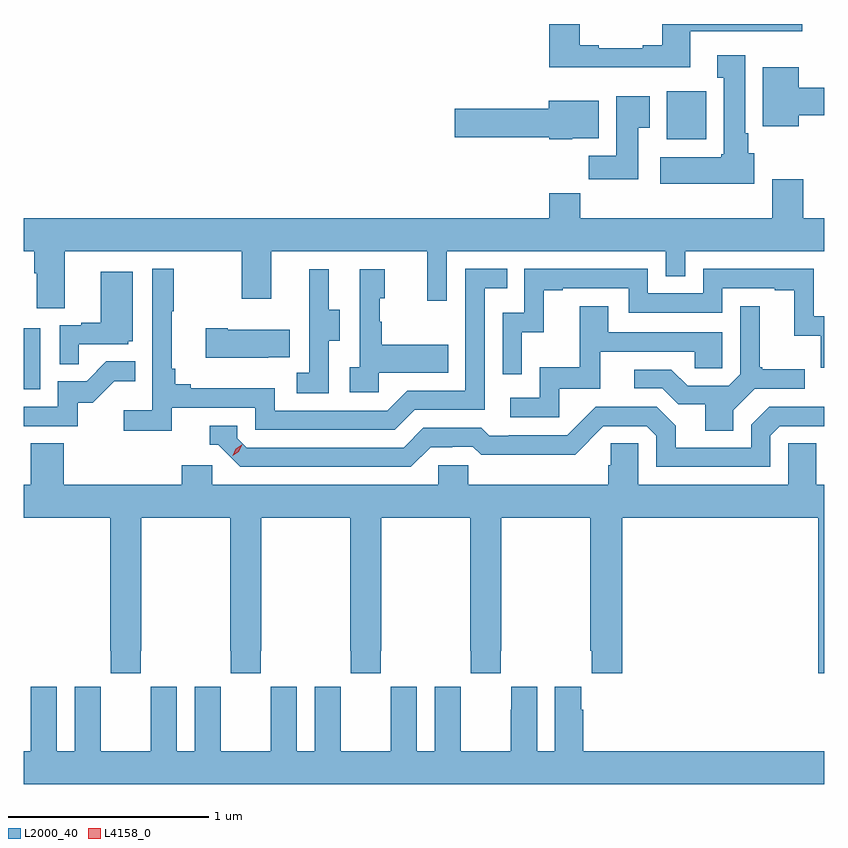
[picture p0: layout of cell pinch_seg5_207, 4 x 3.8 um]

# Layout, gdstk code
import gdstk
lib = gdstk.Library(unit=1e-6, precision=1e-09)
def R(c, l, rs):  # rectangles x0, y0, x1, y1
    for r in rs: c.add(gdstk.rectangle(r[:2], r[2:], *l))
def P(c, l, *ps):  # polygons
    for p in ps: c.add(gdstk.Polygon(p, *l))
L2000_40 = (2000, 40)
L4158_0 = (4158, 0)

pinch_seg5_207 = lib.new_cell('pinch_seg5_207')
R(pinch_seg5_207, L2000_40, [(996.127,896.028,996.208,896.335), (999.341,897.278,999.538,897.52)])
P(pinch_seg5_207, L2000_40, [(999.457,897.819),(1000.018,897.819),(1000.018,897.855),(999.317,897.855),(999.317,897.748),(999.221,897.748),(999.221,897.735),(999.001,897.735),(999.001,897.748),(998.905,897.748),(998.905,897.855),(998.753,897.855),(998.753,897.638),(999.457,897.638)],
  [(999.778,897.21),(999.748,897.21),(999.748,897.31),(999.733,897.31),(999.733,897.7),(999.593,897.7),(999.593,897.587),(999.626,897.587),(999.626,897.204),(999.613,897.204),(999.613,897.19),(999.309,897.19),(999.309,897.056),(999.778,897.056)],
  [(1000,897.4),(1000.127,897.4),(1000.127,897.536),(1000,897.536),(1000,897.64),(999.821,897.64),(999.821,897.344),(1000,897.344)],
  [(999.199,897.337),(999.256,897.337),(999.256,897.493),(999.089,897.493),(999.089,897.196),(998.95,897.196),(998.95,897.078),(999.199,897.078)],
  [(998.868,897.284),(999.001,897.284),(999.001,897.472),(998.75,897.472),(998.75,897.431),(998.28,897.431),(998.28,897.289),(998.754,897.289),(998.754,897.278),(998.868,897.278)],
  [(996.331,896.72),(997.216,896.72),(997.216,896.481),(997.363,896.481),(997.363,896.72),(998.144,896.72),(998.144,896.472),(998.241,896.472),(998.241,896.72),(999.336,896.72),(999.336,896.593),(999.432,896.593),(999.432,896.72),(1000.127,896.72),(1000.127,896.884),(1000.022,896.884),(1000.022,897.079),(999.869,897.079),(999.869,896.884),(998.909,896.884),(998.909,897.008),(998.753,897.008),(998.753,896.884),(996.127,896.884),(996.127,896.72),(996.179,896.72),(996.179,896.608),(996.191,896.608),(996.191,896.434),(996.331,896.434)],
  [(996.866,895.938),(997.284,895.938),(997.284,895.827),(997.981,895.827),(998.08,895.926),(998.43,895.926),(998.43,896.535),(998.543,896.535),(998.543,896.631),(998.334,896.631),(998.334,896.022),(998.043,896.022),(997.944,895.923),(997.38,895.923),(997.38,896.035),(996.961,896.035),(996.961,896.054),(996.884,896.054),(996.884,896.131),(996.865,896.131),(996.865,896.419),(996.877,896.419),(996.877,896.632),(996.768,896.632),(996.768,895.924),(996.627,895.924),(996.627,895.822),(996.866,895.822)],
  [(998.616,896.315),(998.726,896.315),(998.726,896.523),(998.821,896.523),(998.821,896.535),(999.15,896.535),(999.15,896.412),(999.618,896.412),(999.618,896.535),(999.881,896.535),(999.881,896.523),(999.977,896.523),(999.977,896.297),(1000.11,896.297),(1000.11,896.136),(1000.127,896.136),(1000.127,896.395),(1000.074,896.395),(1000.074,896.631),(999.522,896.631),(999.522,896.508),(999.246,896.508),(999.246,896.631),(998.628,896.631),(998.628,896.412),(998.52,896.412),(998.52,896.103),(998.616,896.103)],
  [(997.902,896.111),(998.249,896.111),(998.249,896.251),(997.915,896.251),(997.915,896.366),(997.905,896.366),(997.905,896.484),(997.93,896.484),(997.93,896.629),(997.806,896.629),(997.806,896.138),(997.755,896.138),(997.755,896.013),(997.902,896.013)],
  [(997.65,896.272),(997.705,896.272),(997.705,896.427),(997.651,896.427),(997.651,896.629),(997.553,896.629),(997.553,896.415),(997.554,896.415),(997.554,896.111),(997.491,896.111),(997.491,896.008),(997.65,896.008)],
  [(996.401,896.253),(996.648,896.253),(996.648,896.268),(996.67,896.268),(996.67,896.617),(996.512,896.617),(996.512,896.362),(996.413,896.362),(996.413,896.349),(996.306,896.349),(996.306,896.155),(996.401,896.155)],
  [(998.802,896.031),(999.007,896.031),(999.007,896.217),(999.481,896.217),(999.481,896.133),(999.618,896.133),(999.618,896.313),(999.049,896.313),(999.049,896.443),(998.905,896.443),(998.905,896.14),(998.706,896.14),(998.706,895.986),(998.559,895.986),(998.559,895.89),(998.802,895.89)],
  [(999.673,895.924),(999.78,896.031),(1000.03,896.031),(1000.03,896.128),(999.817,896.128),(999.817,896.14),(999.805,896.14),(999.805,896.443),(999.708,896.443),(999.708,896.103),(999.651,896.046),(999.445,896.046),(999.364,896.127),(999.177,896.127),(999.177,896.034),(999.318,896.034),(999.398,895.954),(999.533,895.954),(999.533,895.822),(999.673,895.822)],
  [(997.349,896.189),(997.457,896.189),(997.457,896.326),(997.147,896.326),(997.147,896.334),(997.035,896.334),(997.035,896.186),(997.349,896.186)],
  [(996.396,895.962),(996.472,895.962),(996.579,896.069),(996.683,896.069),(996.683,896.168),(996.539,896.168),(996.441,896.07),(996.297,896.07),(996.297,895.941),(996.127,895.941),(996.127,895.845),(996.396,895.845)],
  [(998.161,895.74),(998.268,895.74),(998.268,895.743),(998.371,895.743),(998.413,895.701),(998.646,895.701),(998.646,895.703),(998.882,895.703),(999.024,895.845),(999.24,895.845),(999.288,895.797),(999.288,895.641),(999.858,895.641),(999.858,895.797),(999.906,895.845),(1000.127,895.845),(1000.127,895.943),(1000.068,895.943),(1000.068,895.941),(999.852,895.941),(999.762,895.851),(999.762,895.737),(999.385,895.737),(999.385,895.847),(999.291,895.941),(998.985,895.941),(998.844,895.8),(998.551,895.8),(998.551,895.797),(998.452,895.797),(998.413,895.836),(998.124,895.836),(998.025,895.737),(997.242,895.737),(997.194,895.785),(997.194,895.848),(997.055,895.848),(997.055,895.752),(997.098,895.752),(997.209,895.641),(998.062,895.641)],
  [(996.711,894.721),(996.714,894.721),(996.714,895.388),(997.159,895.388),(997.159,894.721),(997.161,894.721),(997.161,894.609),(997.311,894.609),(997.311,894.721),(997.314,894.721),(997.314,895.388),(997.759,895.388),(997.759,894.721),(997.761,894.721),(997.761,894.609),(997.911,894.609),(997.911,894.721),(997.914,894.721),(997.914,895.388),(998.359,895.388),(998.359,894.721),(998.361,894.721),(998.361,894.609),(998.511,894.609),(998.511,894.721),(998.514,894.721),(998.514,895.388),(998.959,895.388),(998.959,894.721),(998.965,894.721),(998.965,894.609),(999.119,894.609),(999.119,895.388),(1000.097,895.388),(1000.097,894.609),(1000.127,894.609),(1000.127,895.552),(1000.087,895.552),(1000.087,895.76),(999.948,895.76),(999.948,895.552),(999.198,895.552),(999.198,895.76),(999.061,895.76),(999.061,895.65),(999.047,895.65),(999.047,895.552),(998.349,895.552),(998.349,895.65),(998.199,895.65),(998.199,895.552),(997.068,895.552),(997.068,895.65),(996.917,895.65),(996.917,895.552),(996.326,895.552),(996.326,895.76),(996.161,895.76),(996.161,895.552),(996.127,895.552),(996.127,895.388),(996.559,895.388),(996.559,894.721),(996.561,894.721),(996.561,894.609),(996.711,894.609)],
  [(1000.127,894.22),(998.924,894.22),(998.924,894.428),(998.914,894.428),(998.914,894.541),(998.78,894.541),(998.78,894.22),(998.692,894.22),(998.692,894.541),(998.562,894.541),(998.562,894.428),(998.561,894.428),(998.561,894.22),(998.311,894.22),(998.311,894.428),(998.31,894.428),(998.31,894.541),(998.18,894.541),(998.18,894.22),(998.092,894.22),(998.092,894.541),(997.962,894.541),(997.962,894.428),(997.961,894.428),(997.961,894.22),(997.711,894.22),(997.711,894.428),(997.71,894.428),(997.71,894.541),(997.58,894.541),(997.58,894.22),(997.492,894.22),(997.492,894.541),(997.362,894.541),(997.362,894.428),(997.361,894.428),(997.361,894.22),(997.111,894.22),(997.111,894.428),(997.11,894.428),(997.11,894.541),(996.98,894.541),(996.98,894.22),(996.892,894.22),(996.892,894.541),(996.762,894.541),(996.762,894.428),(996.761,894.428),(996.761,894.22),(996.511,894.22),(996.511,894.428),(996.51,894.428),(996.51,894.541),(996.38,894.541),(996.38,894.22),(996.292,894.22),(996.292,894.541),(996.162,894.541),(996.162,894.428),(996.161,894.428),(996.161,894.22),(996.127,894.22),(996.127,894.056),(1000.127,894.056)])
P(pinch_seg5_207, L4158_0, [(997.172,895.698),(997.172,895.698),(997.187,895.731),(997.217,895.751),(997.218,895.751),(997.218,895.751),(997.202,895.718),(997.172,895.698)])

lib.write_gds('pinch_seg5_207.gds')
